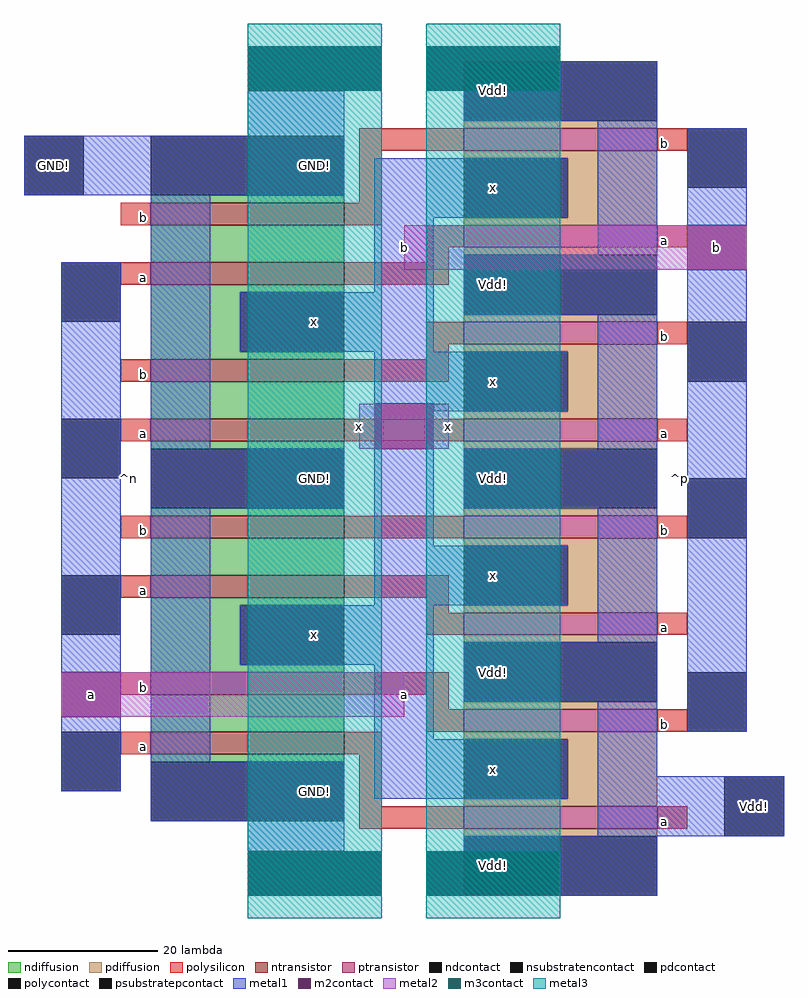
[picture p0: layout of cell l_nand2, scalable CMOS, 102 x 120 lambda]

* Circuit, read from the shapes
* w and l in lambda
.subckt l_nand2 GND! Vdd! a b x
M1 n1 a GND! GND! nfet w=26 l=3
M2 x b n1 GND! nfet w=26 l=3
M3 n2 a x GND! nfet w=26 l=3
M4 GND! b n2 GND! nfet w=26 l=3
M5 n3 a GND! GND! nfet w=26 l=3
M6 x b n3 GND! nfet w=26 l=3
M7 n4 a x GND! nfet w=26 l=3
M8 GND! b n4 GND! nfet w=26 l=3
M9 x a Vdd! Vdd! pfet w=26 l=3 m=4
M10 Vdd! b x Vdd! pfet w=26 l=3 m=4
.ends

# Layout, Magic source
magic
tech scmos
<< ndiffusion >>
rect -34 645 -8 646
rect -34 637 -8 642
rect -34 633 -8 634
rect -34 625 -22 633
rect -34 624 -8 625
rect -34 616 -8 621
rect -34 612 -8 613
rect -34 603 -8 604
rect -34 595 -8 600
rect -34 591 -8 592
rect -34 583 -22 591
rect -34 582 -8 583
rect -34 574 -8 579
rect -34 570 -8 571
<< pdiffusion >>
rect 8 655 34 656
rect 8 651 34 652
rect 22 643 34 651
rect 8 642 34 643
rect 8 638 34 639
rect 8 629 34 630
rect 8 625 34 626
rect 22 617 34 625
rect 8 616 34 617
rect 8 612 34 613
rect 8 603 34 604
rect 8 599 34 600
rect 22 591 34 599
rect 8 590 34 591
rect 8 586 34 587
rect 8 577 34 578
rect 8 573 34 574
rect 22 565 34 573
rect 8 564 34 565
rect 8 560 34 561
<< ntransistor >>
rect -34 642 -8 645
rect -34 634 -8 637
rect -34 621 -8 624
rect -34 613 -8 616
rect -34 600 -8 603
rect -34 592 -8 595
rect -34 579 -8 582
rect -34 571 -8 574
<< ptransistor >>
rect 8 652 34 655
rect 8 639 34 642
rect 8 626 34 629
rect 8 613 34 616
rect 8 600 34 603
rect 8 587 34 590
rect 8 574 34 577
rect 8 561 34 564
<< polysilicon >>
rect -6 652 8 655
rect 34 652 38 655
rect -6 645 -3 652
rect -38 642 -34 645
rect -8 642 -3 645
rect 3 639 8 642
rect 34 639 38 642
rect 3 637 6 639
rect -38 634 -34 637
rect -8 634 6 637
rect 3 626 8 629
rect 34 626 38 629
rect 3 624 6 626
rect -38 621 -34 624
rect -8 621 6 624
rect -38 613 -34 616
rect -8 613 8 616
rect 34 613 38 616
rect -38 600 -34 603
rect -8 600 8 603
rect 34 600 38 603
rect -38 592 -34 595
rect -8 592 6 595
rect 3 590 6 592
rect 3 587 8 590
rect 34 587 38 590
rect -38 579 -34 582
rect -8 579 6 582
rect 3 577 6 579
rect 3 574 8 577
rect 34 574 38 577
rect -38 571 -34 574
rect -8 571 -3 574
rect -6 564 -3 571
rect -6 561 8 564
rect 34 561 38 564
<< ndcontact >>
rect -34 646 -8 654
rect -22 625 -8 633
rect -34 604 -8 612
rect -22 583 -8 591
rect -34 562 -8 570
<< pdcontact >>
rect 8 656 34 664
rect 8 643 22 651
rect 8 630 34 638
rect 8 617 22 625
rect 8 604 34 612
rect 8 591 22 599
rect 8 578 34 586
rect 8 565 22 573
rect 8 552 34 560
<< psubstratepcontact >>
rect -51 646 -43 654
<< nsubstratencontact >>
rect 43 560 51 568
<< polycontact >>
rect 38 647 46 655
rect -46 629 -38 637
rect 38 621 46 629
rect -46 608 -38 616
rect 38 600 46 608
rect -46 587 -38 595
rect 38 574 46 582
rect -46 566 -38 574
<< metal1 >>
rect 21 660 34 664
rect -21 654 -8 660
rect 8 656 34 660
rect -51 646 -8 654
rect -46 582 -38 637
rect -46 566 -38 576
rect -34 612 -26 646
rect -4 643 22 651
rect -4 633 4 643
rect 26 638 34 656
rect -22 625 4 633
rect 8 630 34 638
rect -4 618 22 625
rect 4 617 22 618
rect 26 612 34 630
rect -34 604 -8 612
rect -34 570 -26 604
rect -4 599 4 612
rect 8 604 34 612
rect -4 591 22 599
rect -22 583 4 591
rect 26 586 34 604
rect -4 573 4 583
rect 8 578 34 586
rect -34 562 -8 570
rect -4 565 22 573
rect 26 568 34 578
rect 38 642 46 655
rect 38 574 46 636
rect -21 558 -8 562
rect 26 560 51 568
rect 8 558 34 560
rect 21 552 34 558
<< m2contact >>
rect -21 660 -3 666
rect 3 660 21 666
rect -46 576 -38 582
rect -4 612 4 618
rect 38 636 46 642
rect -21 552 -3 558
rect 3 552 21 558
<< metal2 >>
rect 0 636 46 642
rect -6 612 6 618
rect -46 576 0 582
<< m3contact >>
rect -21 660 -3 666
rect 3 660 21 666
rect -21 552 -3 558
rect 3 552 21 558
<< metal3 >>
rect -21 549 -3 669
rect 3 549 21 669
<< labels >>
rlabel metal1 12 595 12 595 1 x
rlabel metal1 12 608 12 608 5 Vdd!
rlabel metal1 12 582 12 582 1 Vdd!
rlabel m2contact 12 556 12 556 1 Vdd!
rlabel metal1 12 647 12 647 1 x
rlabel metal1 12 660 12 660 5 Vdd!
rlabel metal1 12 634 12 634 1 Vdd!
rlabel metal1 12 621 12 621 5 x
rlabel metal1 -12 608 -12 608 5 GND!
rlabel metal1 -12 587 -12 587 5 x
rlabel metal1 -12 566 -12 566 1 GND!
rlabel metal1 -12 650 -12 650 5 GND!
rlabel metal1 -12 629 -12 629 5 x
rlabel metal1 12 569 12 569 5 x
rlabel polysilicon -35 593 -35 593 3 a
rlabel polysilicon -35 572 -35 572 3 a
rlabel polysilicon -35 614 -35 614 3 a
rlabel polysilicon -35 635 -35 635 3 a
rlabel polysilicon -35 643 -35 643 3 b
rlabel polysilicon -35 622 -35 622 3 b
rlabel polysilicon -35 601 -35 601 3 b
rlabel polysilicon -35 580 -35 580 3 b
rlabel polysilicon 35 601 35 601 1 b
rlabel polysilicon 35 575 35 575 1 b
rlabel polysilicon 35 653 35 653 1 b
rlabel polysilicon 35 627 35 627 1 b
rlabel polysilicon 35 562 35 562 1 a
rlabel polysilicon 35 588 35 588 1 a
rlabel polysilicon 35 614 35 614 1 a
rlabel polysilicon 35 640 35 640 1 a
rlabel metal2 -6 612 -6 618 3 x
rlabel metal2 6 612 6 618 7 x
rlabel metal2 0 636 0 642 3 b
rlabel metal2 0 576 0 582 7 a
rlabel metal1 -47 650 -47 650 3 GND!
rlabel space -52 561 -22 655 7 ^n
rlabel metal1 47 564 47 564 7 Vdd!
rlabel space 22 551 52 665 3 ^p
rlabel metal2 -42 579 -42 579 1 a
rlabel metal2 42 639 42 639 1 b
<< end >>
